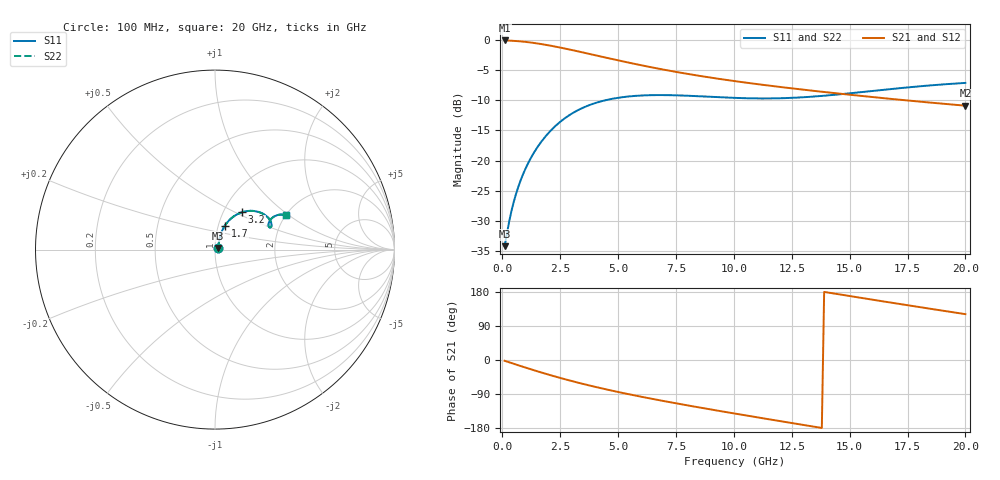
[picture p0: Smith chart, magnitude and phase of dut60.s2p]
! Touchstone file exported from HFSS 2024.1.0
!  File:  C:/UserFiles/LocalFiles/RDL_TSV_Batchsim/temp_RDL_TSV_60_1779409188.aedt
!  Generated:  08:34:53 AM May 22, 2026
!  Design:  RDL_TSV
!  Project:  temp_RDL_TSV_60_1779409188
!  Setup:  Setup1
!  Solution:  Sweep
! Variables:
!  dtsv = 8.03um
!  hbump = 3um
!  htsv = 74.87um
!  ldown = 272.86um
!  lrdl = 681.19um
!  p = 40
!  p1 = 55.33um
!  rhole = 10um
!  subl = 3543.34um
!  t = 450um
!  tdown = 4.97um
!  trdl = 4.69um
!  viad = 10um
!  wdown = 22.39um
!  wrdl = 14.67um
!  xbump = 18um
# GHz S MA R 50.000000
! Terminal data exported
! Port[1] = TM1_1_T1
! Port[2] = TM1_4_T1
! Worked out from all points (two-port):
!   200 points, 100 MHz to 20 GHz, reference 50 ohm
!   highest |S21| = -0.16 dB at 100 MHz (marker M1); lowest = -10.9 dB at 20 GHz (marker M2)
!   |S21| within 3 dB of the highest: start of sweep to 4.663 GHz
!   lowest |S11| = -34.1 dB at 100 MHz (marker M3), VSWR 1.04, Z = 51.8 + j0.896 ohm
!   |S11| at or under -10 dB: start of sweep to 4.49 GHz
!   |S22| runs from -34.1 to -7.2 dB; largest |S21 - S12| = 5.9e-14
!   S11 on the Smith chart (normalised r, x): 100 MHz: 1.04, +0.02; 1.7 GHz: 1.08, +0.29; 3.2 GHz: 1.22, +0.54; 20 GHz: 2.00, +0.95
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0.1  0.01963 26.1  0.9822 -2.1  0.9822 -2.1  0.01963 26.1
! Gamma 0 0 0 0
! Port Impedance 50 0 50 0
0.3  0.0316 52.0  0.9791 -6.1  0.9791 -6.1  0.0316 52.0
0.4  0.03864 57.9  0.977 -8.2  0.977 -8.2  0.03864 57.9
0.7  0.06134 66.5  0.9682 -14.1  0.9682 -14.1  0.06134 66.5
1.1  0.09382 69.4  0.9512 -21.9  0.9512 -21.9  0.09381 69.4
1.4  0.119 69.1  0.9349 -27.7  0.9349 -27.7  0.119 69.1
1.7  0.1444 67.6  0.9161 -33.2  0.9161 -33.2  0.1444 67.6
2.4  0.2013 62.0  0.8659 -45.6  0.8659 -45.6  0.2013 62.0
3.2  0.2568 54.1  0.8037 -58.7  0.8037 -58.7  0.2568 54.1
3.5  0.274 51.1  0.7804 -63.3  0.7804 -63.3  0.274 51.2
4.2  0.3061 44.6  0.728 -73.6  0.728 -73.6  0.3061 44.6
5.1  0.3322 37.3  0.6665 -85.7  0.6665 -85.7  0.3323 37.3
5.9  0.3438 32.0  0.6184 -95.7  0.6184 -95.7  0.344 32.0
6.8  0.3476 27.4  0.5717 -106.4  0.5717 -106.4  0.3478 27.5
8.4  0.3407 22.7  0.5051 -124.1  0.5051 -124.1  0.3409 22.7
10.1  0.3292 21.9  0.4515 -142.0  0.4515 -142.0  0.3294 21.9
11.7  0.3263 23.9  0.412 -158.3  0.412 -158.3  0.3265 23.9
13.4  0.3374 26.9  0.3776 -175.4  0.3776 -175.4  0.3375 26.9
15.1  0.3609 28.9  0.3484 167.8  0.3484 167.8  0.3611 28.9
16.7  0.3884 29.1  0.3245 152.2  0.3245 152.2  0.3886 29.2
18.3  0.415 28.0  0.3035 136.9  0.3035 136.9  0.4152 28.1
20  0.438 26.0  0.2842 121.0  0.2842 121.0  0.4382 26.0
